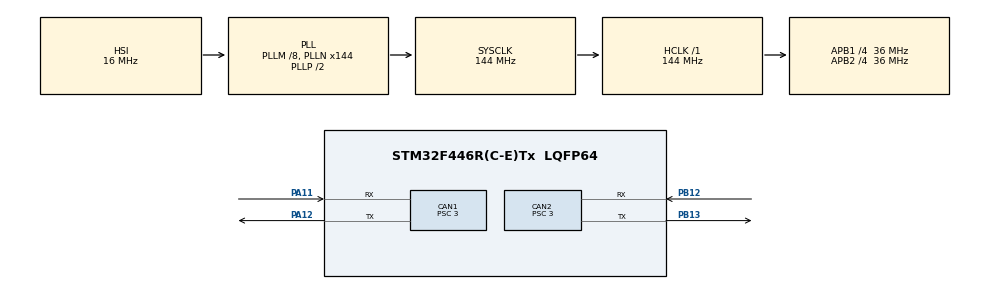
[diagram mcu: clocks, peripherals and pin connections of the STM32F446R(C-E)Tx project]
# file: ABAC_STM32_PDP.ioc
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CAN1.ABOM=ENABLE
CAN1.AWUM=ENABLE
CAN1.BS1=CAN_BS1_8TQ
CAN1.BS2=CAN_BS2_3TQ
CAN1.CalculateTimeQuantum=83.33333333333334
CAN1.Prescaler=3
CAN2.ABOM=ENABLE
CAN2.AWUM=ENABLE
CAN2.BS1=CAN_BS1_8TQ
CAN2.BS2=CAN_BS2_3TQ
CAN2.CalculateTimeQuantum=83.33333333333334
CAN2.Prescaler=3
FREERTOS.Tasks01=Main,0,128,task_1,Default,NULL,Dynamic,NULL,NULL
FREERTOS.configMAX_PRIORITIES=16
Mcu.Family=STM32F4
Mcu.Name=STM32F446R(C-E)Tx
Mcu.Package=LQFP64
NVIC.CAN1_RX0_IRQn=true\:5\:0\:false\:true\:true\:2\:true\:true
NVIC.CAN1_RX1_IRQn=true\:5\:0\:false\:true\:true\:3\:true\:true
NVIC.CAN1_SCE_IRQn=true\:5\:0\:false\:true\:true\:4\:true\:true
NVIC.CAN1_TX_IRQn=true\:5\:0\:false\:true\:true\:1\:true\:true
NVIC.CAN2_RX0_IRQn=true\:5\:0\:false\:true\:true\:6\:true\:true
NVIC.CAN2_RX1_IRQn=true\:5\:0\:false\:true\:true\:7\:true\:true
NVIC.CAN2_SCE_IRQn=true\:5\:0\:false\:true\:true\:8\:true\:true
NVIC.CAN2_TX_IRQn=true\:5\:0\:false\:true\:true\:5\:true\:true
NVIC.PriorityGroup=NVIC_PRIORITYGROUP_4
NVIC.TIM1_UP_TIM10_IRQn=true\:0\:0\:false\:false\:true\:false\:false
NVIC.TimeBase=TIM1_UP_TIM10_IRQn
NVIC.TimeBaseIP=TIM1
PA11.Mode=Master
PA11.Signal=CAN1_RX
PA12.Mode=Master
PA12.Signal=CAN1_TX
PB12.Mode=Slave
PB12.Signal=CAN2_RX
PB13.Mode=Slave
PB13.Signal=CAN2_TX
ProjectManager.HeapSize=0x200
ProjectManager.StackSize=0x400
ProjectManager.TargetToolchain=SW4STM32
RCC.AHBFreq_Value=144000000
RCC.APB1CLKDivider=RCC_HCLK_DIV4
RCC.APB1Freq_Value=36000000
RCC.APB1TimFreq_Value=72000000
RCC.APB2CLKDivider=RCC_HCLK_DIV4
RCC.APB2Freq_Value=36000000
RCC.APB2TimFreq_Value=72000000
RCC.CortexFreq_Value=144000000
RCC.HCLKFreq_Value=144000000
RCC.PLLM=8
RCC.PLLN=144
RCC.SYSCLKFreq_VALUE=144000000
RCC.SYSCLKSource=RCC_SYSCLKSOURCE_PLLCLK
RCC.USBFreq_Value=144000000
RCC.VCOOutputFreq_Value=288000000
VP_FREERTOS_VS_ENABLE.Mode=Enabled
VP_SYS_VS_tim1.Mode=TIM1
board=custom

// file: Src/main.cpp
/**
  ******************************************************************************
  * @file           : main.c
  * @brief          : Main program body
  ******************************************************************************
  * This notice applies to any and all portions of this file
  * that are not between comment pairs USER CODE BEGIN and
  * USER CODE END. Other portions of this file, whether
  * inserted by the user or by software development tools
  * are owned by their respective copyright owners.
  *
  * Copyright (c) 2018 STMicroelectronics International N.V.
  * All rights reserved.
  *
  * Redistribution and use in source and binary forms, with or without
  * modification, are permitted, provided that the following conditions are met:
  *
  * 1. Redistribution of source code must retain the above copyright notice,
  *    this list of conditions and the following disclaimer.
  * 2. Redistributions in binary form must reproduce the above copyright notice,
  *    this list of conditions and the following disclaimer in the documentation
  *    and/or other materials provided with the distribution.
  * 3. Neither the name of STMicroelectronics nor the names of other
  *    contributors to this software may be used to endorse or promote products
  *    derived from this software without specific written permission.
  * 4. This software, including modifications and/or derivative works of this
  *    software, must execute solely and exclusively on microcontroller or
  *    microprocessor devices manufactured by or for STMicroelectronics.
  * 5. Redistribution and use of this software other than as permitted under
  *    this license is void and will automatically terminate your rights under
  *    this license.
  *
  * THIS SOFTWARE IS PROVIDED BY STMICROELECTRONICS AND CONTRIBUTORS "AS IS"
  * AND ANY EXPRESS, IMPLIED OR STATUTORY WARRANTIES, INCLUDING, BUT NOT
  * LIMITED TO, THE IMPLIED WARRANTIES OF MERCHANTABILITY, FITNESS FOR A
  * PARTICULAR PURPOSE AND NON-INFRINGEMENT OF THIRD PARTY INTELLECTUAL PROPERTY
  * RIGHTS ARE DISCLAIMED TO THE FULLEST EXTENT PERMITTED BY LAW. IN NO EVENT
  * SHALL STMICROELECTRONICS OR CONTRIBUTORS BE LIABLE FOR ANY DIRECT, INDIRECT,
  * INCIDENTAL, SPECIAL, EXEMPLARY, OR CONSEQUENTIAL DAMAGES (INCLUDING, BUT NOT
  * LIMITED TO, PROCUREMENT OF SUBSTITUTE GOODS OR SERVICES; LOSS OF USE, DATA,
  * OR PROFITS; OR BUSINESS INTERRUPTION) HOWEVER CAUSED AND ON ANY THEORY OF
  * LIABILITY, WHETHER IN CONTRACT, STRICT LIABILITY, OR TORT (INCLUDING
  * NEGLIGENCE OR OTHERWISE) ARISING IN ANY WAY OUT OF THE USE OF THIS SOFTWARE,
  * EVEN IF ADVISED OF THE POSSIBILITY OF SUCH DAMAGE.
  *
  ******************************************************************************
  */
#include "main.h"
#include "stm32f4xx_hal.h"
#include "cmsis_os.h"

/* USER CODE BEGIN Includes */
#include "ABAC.h"
#include "ABAC_Com_20181007_dbc.h"
#include "canExtern.h"
#ifdef __cplusplus
extern "C" {
#endif
/* USER CODE END Includes */

CAN_HandleTypeDef hcan1;
CAN_HandleTypeDef hcan2;

osThreadId MainHandle;

/* USER CODE BEGIN PV */
/* Private variables ---------------------------------------------------------*/

CAN_RxHeaderTypeDef RxCan1Header;

CAN_TxHeaderTypeDef TxCan2Header;
CAN_RxHeaderTypeDef RxCan2Header;

uint8_t RxCan1Data[8];

uint8_t TxCan2Data[8];
uint8_t RxCan2Data[8];
uint32_t TxCan2Mailbox;
/* USER CODE END PV */

void SystemClock_Config(void);
static void MX_GPIO_Init(void);
static void MX_CAN1_Init(void);
static void MX_CAN2_Init(void);
void task_1(void const * argument);
static void MX_NVIC_Init(void);

/* USER CODE BEGIN PFP */
#ifdef __cplusplus
}
#endif
/* Private function prototypes -----------------------------------------------*/
static void CAN_Config(void);
bool send(CMessage<uint8_t> pMsgObj_,CAN_HandleTypeDef pChannel_);
bool send(CMessage<uint16_t> pMsgObj_,CAN_HandleTypeDef pChannel_);
bool send(CMessage<uint32_t> pMsgObj_,CAN_HandleTypeDef pChannel_);
bool send(CMessage<uint64_t> pMsgObj_,CAN_HandleTypeDef pChannel_);
bool send(CAN_TxHeaderTypeDef pHeader_,uint8_t *pData_, CAN_HandleTypeDef pChannel_);
/* USER CODE END PFP */

/* USER CODE BEGIN 0 */
bool ABAC_CAN_Transmit(uint8_t *pData_){
	ABAC_Command Command = (ABAC_Command)pData_[0];
	switch (Command) {
		case ACCESS:
			break;
		case INFORMATION:
			break;
		case DECISIONRESP:
			PDP_ABAC_DecisionMsg.Merge(pData_);
			send(PDP_ABAC_DecisionMsg,hcan2);
			break;
		case UNLOCK_RESOURCE:
			PDP_ABAC_Unlock_ResourceMsg.Merge(pData_);
			send(PDP_ABAC_Unlock_ResourceMsg,hcan1);
			break;
		case NONCE:
			PDP_ABAC_Get_Nonce.Merge(pData_);
			send(PDP_ABAC_Get_Nonce,hcan1);
			break;
		case LOCK_RESOURCE:
			PDP_ABAC_Lock_ResourceMsg.Merge(pData_);
			send(PDP_ABAC_Lock_ResourceMsg,hcan1);
			break;
	}
	return true;
}

Policies PolicyObj(ABAC_CAN_Transmit,true); //is PDP

/* USER CODE END 0 */

int main(void)
{

  /* MCU Configuration----------------------------------------------------------*/

  /* Reset of all peripherals, Initializes the Flash interface and the Systick. */
  HAL_Init();

  /* Configure the system clock */
  SystemClock_Config();

  /* Initialize all configured peripherals */
  MX_GPIO_Init();
  MX_CAN1_Init();
  MX_CAN2_Init();

  /* Initialize interrupts */
  MX_NVIC_Init();
  /* USER CODE BEGIN 2 */
  CAN_Config();
  /* USER CODE END 2 */

  /* Create the thread(s) */
  /* definition and creation of Main */
  osThreadDef(Main, task_1, osPriorityNormal, 0, 128);
  MainHandle = osThreadCreate(osThread(Main), NULL);

  /* Start scheduler */
  osKernelStart();

  /* We should never get here as control is now taken by the scheduler */

  /* Infinite loop */
  while (1)
  {

  }

}

void SystemClock_Config(void)
{

  RCC_OscInitTypeDef RCC_OscInitStruct;
  RCC_ClkInitTypeDef RCC_ClkInitStruct;

    /**Configure the main internal regulator output voltage
    */
  __HAL_RCC_PWR_CLK_ENABLE();

  __HAL_PWR_VOLTAGESCALING_CONFIG(PWR_REGULATOR_VOLTAGE_SCALE1);

    /**Initializes the CPU, AHB and APB busses clocks
    */
  RCC_OscInitStruct.OscillatorType = RCC_OSCILLATORTYPE_HSI;
  RCC_OscInitStruct.HSIState = RCC_HSI_ON;
  RCC_OscInitStruct.HSICalibrationValue = 16;
  RCC_OscInitStruct.PLL.PLLState = RCC_PLL_ON;
  RCC_OscInitStruct.PLL.PLLSource = RCC_PLLSOURCE_HSI;
  RCC_OscInitStruct.PLL.PLLM = 8;
  RCC_OscInitStruct.PLL.PLLN = 144;
  RCC_OscInitStruct.PLL.PLLP = RCC_PLLP_DIV2;
  RCC_OscInitStruct.PLL.PLLQ = 2;
  RCC_OscInitStruct.PLL.PLLR = 2;
  if (HAL_RCC_OscConfig(&RCC_OscInitStruct) != HAL_OK)
  {
    _Error_Handler(__FILE__, __LINE__);
  }

    /**Initializes the CPU, AHB and APB busses clocks
    */
  RCC_ClkInitStruct.ClockType = RCC_CLOCKTYPE_HCLK|RCC_CLOCKTYPE_SYSCLK
                              |RCC_CLOCKTYPE_PCLK1|RCC_CLOCKTYPE_PCLK2;
  RCC_ClkInitStruct.SYSCLKSource = RCC_SYSCLKSOURCE_PLLCLK;
  RCC_ClkInitStruct.AHBCLKDivider = RCC_SYSCLK_DIV1;
  RCC_ClkInitStruct.APB1CLKDivider = RCC_HCLK_DIV4;
  RCC_ClkInitStruct.APB2CLKDivider = RCC_HCLK_DIV4;

  if (HAL_RCC_ClockConfig(&RCC_ClkInitStruct, FLASH_LATENCY_4) != HAL_OK)
  {
    _Error_Handler(__FILE__, __LINE__);
  }

    /**Configure the Systick interrupt time
    */
  HAL_SYSTICK_Config(HAL_RCC_GetHCLKFreq()/1000);

    /**Configure the Systick
    */
  HAL_SYSTICK_CLKSourceConfig(SYSTICK_CLKSOURCE_HCLK);

  /* SysTick_IRQn interrupt configuration */
  HAL_NVIC_SetPriority(SysTick_IRQn, 15, 0);
}

/**
  * @brief NVIC Configuration.
  * @retval None
  */
static void MX_NVIC_Init(void)
{
  /* CAN1_TX_IRQn interrupt configuration */
  HAL_NVIC_SetPriority(CAN1_TX_IRQn, 5, 0);
  HAL_NVIC_EnableIRQ(CAN1_TX_IRQn);
  /* CAN1_RX0_IRQn interrupt configuration */
  HAL_NVIC_SetPriority(CAN1_RX0_IRQn, 5, 0);
  HAL_NVIC_EnableIRQ(CAN1_RX0_IRQn);
  /* CAN1_RX1_IRQn interrupt configuration */
  HAL_NVIC_SetPriority(CAN1_RX1_IRQn, 5, 0);
  HAL_NVIC_EnableIRQ(CAN1_RX1_IRQn);
  /* CAN1_SCE_IRQn interrupt configuration */
  HAL_NVIC_SetPriority(CAN1_SCE_IRQn, 5, 0);
  HAL_NVIC_EnableIRQ(CAN1_SCE_IRQn);
  /* CAN2_TX_IRQn interrupt configuration */
  HAL_NVIC_SetPriority(CAN2_TX_IRQn, 5, 0);
  HAL_NVIC_EnableIRQ(CAN2_TX_IRQn);
  /* CAN2_RX0_IRQn interrupt configuration */
  HAL_NVIC_SetPriority(CAN2_RX0_IRQn, 5, 0);
  HAL_NVIC_EnableIRQ(CAN2_RX0_IRQn);
  /* CAN2_RX1_IRQn interrupt configuration */
  HAL_NVIC_SetPriority(CAN2_RX1_IRQn, 5, 0);
  HAL_NVIC_EnableIRQ(CAN2_RX1_IRQn);
  /* CAN2_SCE_IRQn interrupt configuration */
  HAL_NVIC_SetPriority(CAN2_SCE_IRQn, 5, 0);
  HAL_NVIC_EnableIRQ(CAN2_SCE_IRQn);
}

/* CAN1 init function */
static void MX_CAN1_Init(void)
{

  hcan1.Instance = CAN1;
  hcan1.Init.Prescaler = 3;
  hcan1.Init.Mode = CAN_MODE_NORMAL;
  hcan1.Init.SyncJumpWidth = CAN_SJW_1TQ;
  hcan1.Init.TimeSeg1 = CAN_BS1_8TQ;
  hcan1.Init.TimeSeg2 = CAN_BS2_3TQ;
  hcan1.Init.TimeTriggeredMode = DISABLE;
  hcan1.Init.AutoBusOff = ENABLE;
  hcan1.Init.AutoWakeUp = ENABLE;
  hcan1.Init.AutoRetransmission = DISABLE;
  hcan1.Init.ReceiveFifoLocked = DISABLE;
  hcan1.Init.TransmitFifoPriority = DISABLE;
  if (HAL_CAN_Init(&hcan1) != HAL_OK)
  {
    _Error_Handler(__FILE__, __LINE__);
  }

}

/* CAN2 init function */
static void MX_CAN2_Init(void)
{

  hcan2.Instance = CAN2;
  hcan2.Init.Prescaler = 3;
  hcan2.Init.Mode = CAN_MODE_NORMAL;
  hcan2.Init.SyncJumpWidth = CAN_SJW_1TQ;
  hcan2.Init.TimeSeg1 = CAN_BS1_8TQ;
  hcan2.Init.TimeSeg2 = CAN_BS2_3TQ;
  hcan2.Init.TimeTriggeredMode = DISABLE;
  hcan2.Init.AutoBusOff = ENABLE;
  hcan2.Init.AutoWakeUp = ENABLE;
  hcan2.Init.AutoRetransmission = DISABLE;
  hcan2.Init.ReceiveFifoLocked = DISABLE;
  hcan2.Init.TransmitFifoPriority = DISABLE;
  if (HAL_CAN_Init(&hcan2) != HAL_OK)
  {
    _Error_Handler(__FILE__, __LINE__);
  }

}

/** Pinout Configuration
*/
static void MX_GPIO_Init(void)
{

  /* GPIO Ports Clock Enable */
  __HAL_RCC_GPIOB_CLK_ENABLE();
  __HAL_RCC_GPIOA_CLK_ENABLE();

}

/* USER CODE BEGIN 4 */
static void CAN_Config(void) {
	CAN_FilterTypeDef sFilterConfig;

	/*##-2- Configure the CAN Filter ###########################################*/
	sFilterConfig.FilterBank = 0;
	sFilterConfig.FilterMode = CAN_FILTERMODE_IDMASK;
	sFilterConfig.FilterScale = CAN_FILTERSCALE_32BIT;
	sFilterConfig.FilterIdHigh = 0x0000;
	sFilterConfig.FilterIdLow = 0x0000;
	sFilterConfig.FilterMaskIdHigh = 0x0000;
	sFilterConfig.FilterMaskIdLow = 0x0000;
	sFilterConfig.FilterFIFOAssignment = CAN_RX_FIFO0;
	sFilterConfig.FilterActivation = ENABLE;
	sFilterConfig.SlaveStartFilterBank = 14;

	if (HAL_CAN_ConfigFilter(&hcan1, &sFilterConfig) != HAL_OK) {
		/* Filter configuration Error */
		Error_Handler();
	}

	/*##-2- Configure the CAN Filter ###########################################*/
	sFilterConfig.FilterBank = 14;
	sFilterConfig.FilterMode = CAN_FILTERMODE_IDMASK;
	sFilterConfig.FilterScale = CAN_FILTERSCALE_32BIT;
	sFilterConfig.FilterIdHigh = 0x0000;
	sFilterConfig.FilterIdLow = 0x0000;
	sFilterConfig.FilterMaskIdHigh = 0x0000;
	sFilterConfig.FilterMaskIdLow = 0x0000;
	sFilterConfig.FilterFIFOAssignment = CAN_RX_FIFO1;
	sFilterConfig.FilterActivation = ENABLE;
	sFilterConfig.SlaveStartFilterBank = 14;

	if (HAL_CAN_ConfigFilter(&hcan2, &sFilterConfig) != HAL_OK) {
		/* Filter configuration Error */
		Error_Handler();
	}

	/*##-3- Start the CAN peripheral ###########################################*/
	if (HAL_CAN_Start(&hcan1) != HAL_OK) {
		/* Start Error */
		Error_Handler();
	}

	if (HAL_CAN_Start(&hcan2) != HAL_OK) {
		/* Start Error */
		Error_Handler();
	}
	/*##-4- Activate CAN RX notification #######################################*/
	if (HAL_CAN_ActivateNotification(&hcan1, CAN_IT_RX_FIFO0_MSG_PENDING)
			!= HAL_OK) {
		/* Notification Error */
		Error_Handler();
	}
	if (HAL_CAN_ActivateNotification(&hcan2, CAN_IT_RX_FIFO1_MSG_PENDING)
			!= HAL_OK) {
		/* Notification Error */
		Error_Handler();
	}

}

/**
 * @brief  Rx Fifo 0 message pending callback
 * @param  hcan: pointer to a CAN_HandleTypeDef structure that contains
 *         the configuration information for the specified CAN.
 * @retval None
 */
void HAL_CAN_RxFifo0MsgPendingCallback(CAN_HandleTypeDef *hcan) {
	/* Get RX message */
	uint8_t Test = 0;
	if (HAL_CAN_GetRxMessage(hcan, CAN_RX_FIFO0, &RxCan1Header, RxCan1Data)
			!= HAL_OK) {
		/* Reception Error */
		Error_Handler();
	}

	/* Display LEDx */
	if (RxCan1Header.StdId == ABAC_InformationMsg.getID()) {
		PolicyObj.RxABACmsgHandle(RxCan1Data);
	}
	if ((RxCan1Header.StdId == ECU1_ABAC_ECU_Resp.getID())) {
		PolicyObj.RxABACmsgHandle(RxCan1Data);
	}
	if ((RxCan1Header.StdId == ECU2_ABAC_ECU_Resp.getID())) {
		PolicyObj.RxABACmsgHandle(RxCan1Data);
	}
	if ((RxCan1Header.StdId == ECU1_Send_Nonce.getID())) {
		PolicyObj.RxABACmsgHandle(RxCan1Data);
	}
	if ((RxCan1Header.StdId == ECU2_Send_Nonce.getID())) {
		PolicyObj.RxABACmsgHandle(RxCan1Data);
	}
}

void HAL_CAN_RxFifo1MsgPendingCallback(CAN_HandleTypeDef *hcan) {
	uint8_t Test = 0;
	if (HAL_CAN_GetRxMessage(hcan, CAN_RX_FIFO1, &RxCan2Header, RxCan2Data)
			!= HAL_OK) {
		/* Reception Error */
		Error_Handler();
	}

	/* Display LEDx */
	if (RxCan2Header.StdId == PEP_ABAC_AccessMsg.getID()) {
		PolicyObj.RxABACmsgHandle(RxCan2Data);
//		PolicyObj.request();
	}
	if (RxCan2Header.StdId == PEP_ABAC_Unlock_ResourceMsg.getID()) {
		PolicyObj.RxABACmsgHandle(RxCan2Data);
	}
	if (RxCan2Header.StdId == ABAC_InformationMsg.getID()) {
		PolicyObj.RxABACmsgHandle(RxCan2Data);
	}
	if (RxCan2Header.StdId == PEP_ABAC_Lock_ResourceMsg.getID()) {
		PolicyObj.RxABACmsgHandle(RxCan2Data);
	}
}

bool send(CMessage<uint8_t> pMsgObj_,CAN_HandleTypeDef pChannel_){
	CAN_TxHeaderTypeDef TxCan1Header;
	uint32_t TxCan1Mailbox;
	TxCan1Header.RTR = CAN_RTR_DATA;
	TxCan1Header.IDE = CAN_ID_STD;
	TxCan1Header.TransmitGlobalTime = DISABLE;
	TxCan1Header.StdId = pMsgObj_.getID();
	TxCan1Header.DLC = pMsgObj_.getDLC();
	if (HAL_CAN_AddTxMessage(&pChannel_, &TxCan1Header, pMsgObj_.getData(), &TxCan1Mailbox) != HAL_OK)
	{
	  /* Transmission request Error */
		return false;
	}
	return true;
}

bool send(CMessage<uint16_t> pMsgObj_,CAN_HandleTypeDef pChannel_){
	CAN_TxHeaderTypeDef TxCan1Header;
	uint32_t TxCan1Mailbox;
	TxCan1Header.RTR = CAN_RTR_DATA;
	TxCan1Header.IDE = CAN_ID_STD;
	TxCan1Header.TransmitGlobalTime = DISABLE;
	TxCan1Header.StdId = pMsgObj_.getID();
	TxCan1Header.DLC = pMsgObj_.getDLC();
	if (HAL_CAN_AddTxMessage(&pChannel_, &TxCan1Header, pMsgObj_.getData(), &TxCan1Mailbox) != HAL_OK)
	{
	  /* Transmission request Error */
		return false;
	}
	return true;
}

bool send(CMessage<uint32_t> pMsgObj_,CAN_HandleTypeDef pChannel_){
	CAN_TxHeaderTypeDef TxCan1Header;
	uint32_t TxCan1Mailbox;
	TxCan1Header.RTR = CAN_RTR_DATA;
	TxCan1Header.IDE = CAN_ID_STD;
	TxCan1Header.TransmitGlobalTime = DISABLE;
	TxCan1Header.StdId = pMsgObj_.getID();
	TxCan1Header.DLC = pMsgObj_.getDLC();
	if (HAL_CAN_AddTxMessage(&pChannel_, &TxCan1Header, pMsgObj_.getData(), &TxCan1Mailbox) != HAL_OK)
	{
	  /* Transmission request Error */
		return false;
	}
	return true;
}

bool send(CMessage<uint64_t> pMsgObj_,CAN_HandleTypeDef pChannel_){
	CAN_TxHeaderTypeDef TxCan1Header;
	uint32_t TxCan1Mailbox;
	TxCan1Header.RTR = CAN_RTR_DATA;
	TxCan1Header.IDE = CAN_ID_STD;
	TxCan1Header.TransmitGlobalTime = DISABLE;
	TxCan1Header.StdId = pMsgObj_.getID();
	TxCan1Header.DLC = pMsgObj_.getDLC();
	if (HAL_CAN_AddTxMessage(&pChannel_, &TxCan1Header, pMsgObj_.getData(), &TxCan1Mailbox) != HAL_OK)
	{
	  /* Transmission request Error */
		return false;
	}
	return true;
}

bool send(CAN_TxHeaderTypeDef pHeader_,uint8_t *pData_, CAN_HandleTypeDef pChannel_){
	CAN_TxHeaderTypeDef TxCan1Header;
	uint32_t TxCan1Mailbox;
	TxCan1Header.RTR = CAN_RTR_DATA;
	TxCan1Header.IDE = CAN_ID_STD;
	TxCan1Header.TransmitGlobalTime = DISABLE;
	TxCan1Header.StdId = pHeader_.StdId;
	TxCan1Header.DLC = pHeader_.DLC;
	if (HAL_CAN_AddTxMessage(&pChannel_, &TxCan1Header, pData_, &TxCan1Mailbox) != HAL_OK)
	{
	  /* Transmission request Error */
		return false;
	}
	return true;
}
/* USER CODE END 4 */

void task_1(void const * argument)
{

  /* USER CODE BEGIN 5 */
	CAN_TxHeaderTypeDef TxCan1Header;
	uint8_t TxCan1Data[8];
	uint32_t TxCan1Mailbox;

	TxCan1Header.StdId = 0x322;
	TxCan1Header.RTR = CAN_RTR_DATA;
	TxCan1Header.IDE = CAN_ID_STD;
	TxCan1Header.DLC = 2;
	TxCan1Header.TransmitGlobalTime = DISABLE;

	TxCan1Data[0] = 0x15;
	TxCan1Data[1] = 0xAD;

	/* Infinite loop */
	for (;;) {
        if (HAL_CAN_AddTxMessage(&hcan2, &TxCan1Header, TxCan1Data, &TxCan1Mailbox) != HAL_OK)
        {
          /* Transmission request Error */
          Error_Handler();
        }
		osDelay(500);
	}
  /* USER CODE END 5 */
}

void HAL_TIM_PeriodElapsedCallback(TIM_HandleTypeDef *htim)
{
  if (htim->Instance == TIM1) {
    HAL_IncTick();
  }
}

void _Error_Handler(char *file, int line)
{
  while(1)
  {
  }
}

/************************ (C) COPYRIGHT STMicroelectronics *****END OF FILE****/
